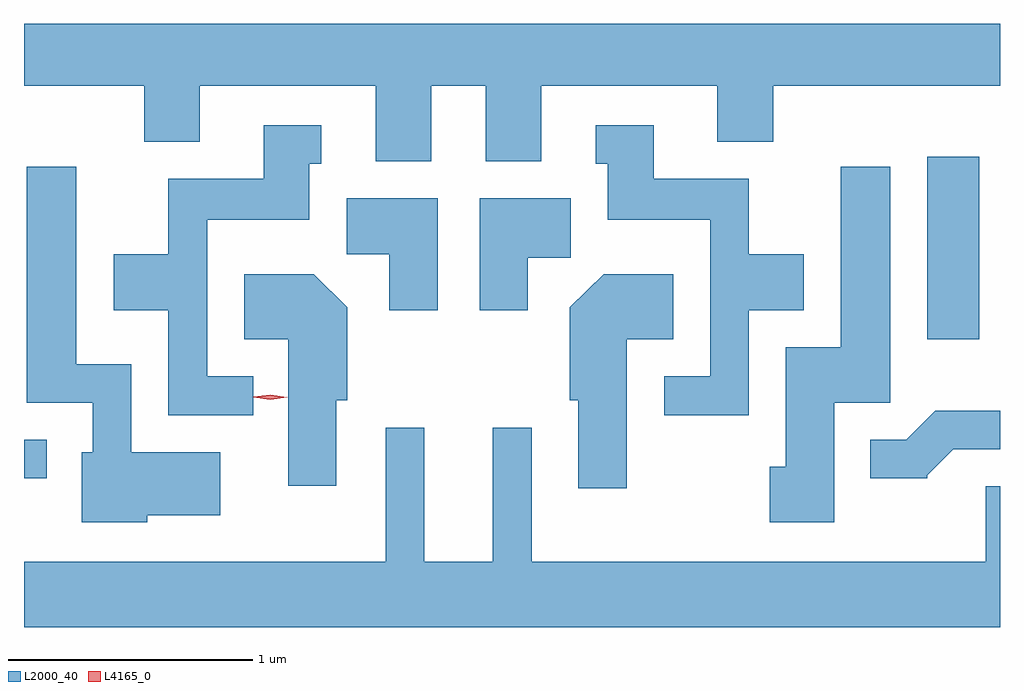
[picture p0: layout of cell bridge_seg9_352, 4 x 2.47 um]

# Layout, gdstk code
import gdstk
lib = gdstk.Library(unit=1e-6, precision=1e-09)
def R(c, l, rs):  # rectangles x0, y0, x1, y1
    for r in rs: c.add(gdstk.rectangle(r[:2], r[2:], *l))
def P(c, l, *ps):  # polygons
    for p in ps: c.add(gdstk.Polygon(p, *l))
L2000_40 = (2000, 40)
L4165_0 = (4165, 0)

bridge_seg9_352 = lib.new_cell('bridge_seg9_352')
R(bridge_seg9_352, L2000_40, [(677.779,1950.246,677.873,1950.404), (681.481,1950.816,681.694,1951.564)])
P(bridge_seg9_352, L2000_40, [(679.449,1951.856),(679.671,1951.856),(679.671,1951.546),(679.899,1951.546),(679.899,1951.856),(680.621,1951.856),(680.621,1951.626),(680.849,1951.626),(680.849,1951.856),(681.779,1951.856),(681.779,1952.11),(677.779,1952.11),(677.779,1951.856),(678.271,1951.856),(678.271,1951.626),(678.499,1951.626),(678.499,1951.856),(679.221,1951.856),(679.221,1951.546),(679.449,1951.546)],
  [(678.718,1950.664),(678.529,1950.664),(678.529,1951.306),(678.949,1951.306),(678.949,1951.536),(678.998,1951.536),(678.998,1951.694),(678.761,1951.694),(678.761,1951.474),(678.371,1951.474),(678.371,1951.164),(678.146,1951.164),(678.146,1950.936),(678.371,1950.936),(678.371,1950.506),(678.718,1950.506)],
  [(680.749,1950.936),(680.974,1950.936),(680.974,1951.164),(680.749,1951.164),(680.749,1951.474),(680.359,1951.474),(680.359,1951.694),(680.123,1951.694),(680.123,1951.536),(680.171,1951.536),(680.171,1951.306),(680.591,1951.306),(680.591,1950.664),(680.403,1950.664),(680.403,1950.506),(680.749,1950.506)],
  [(681.099,1950.556),(681.329,1950.556),(681.329,1951.524),(681.126,1951.524),(681.126,1950.784),(680.901,1950.784),(680.901,1950.294),(680.836,1950.294),(680.836,1950.066),(681.099,1950.066)],
  [(678.284,1950.096),(678.584,1950.096),(678.584,1950.354),(678.219,1950.354),(678.219,1950.714),(677.994,1950.714),(677.994,1951.524),(677.791,1951.524),(677.791,1950.556),(678.061,1950.556),(678.061,1950.354),(678.016,1950.354),(678.016,1950.066),(678.284,1950.066)],
  [(679.844,1951.151),(680.019,1951.151),(680.019,1951.394),(679.646,1951.394),(679.646,1950.936),(679.844,1950.936)],
  [(679.474,1951.394),(679.101,1951.394),(679.101,1951.166),(679.276,1951.166),(679.276,1950.936),(679.474,1950.936)],
  [(680.249,1950.816),(680.439,1950.816),(680.439,1951.084),(680.154,1951.084),(680.016,1950.947),(680.016,1950.566),(680.051,1950.566),(680.051,1950.206),(680.249,1950.206)],
  [(679.059,1950.566),(679.104,1950.566),(679.104,1950.947),(678.967,1951.084),(678.681,1951.084),(678.681,1950.816),(678.861,1950.816),(678.861,1950.216),(679.059,1950.216)],
  [(681.48,1950.26),(681.587,1950.366),(681.779,1950.366),(681.779,1950.524),(681.514,1950.524),(681.394,1950.404),(681.248,1950.404),(681.248,1950.246),(681.48,1950.246)],
  [(681.779,1950.214),(681.721,1950.214),(681.721,1949.904),(679.859,1949.904),(679.859,1950.453),(679.701,1950.453),(679.701,1949.904),(679.419,1949.904),(679.419,1950.453),(679.261,1950.453),(679.261,1949.904),(677.779,1949.904),(677.779,1949.636),(681.779,1949.636)])
P(bridge_seg9_352, L4165_0, [(678.788,1950.569),(678.719,1950.579),(678.718,1950.58),(678.719,1950.58),(678.788,1950.589),(678.857,1950.579),(678.857,1950.579),(678.857,1950.578)])

lib.write_gds('bridge_seg9_352.gds')
